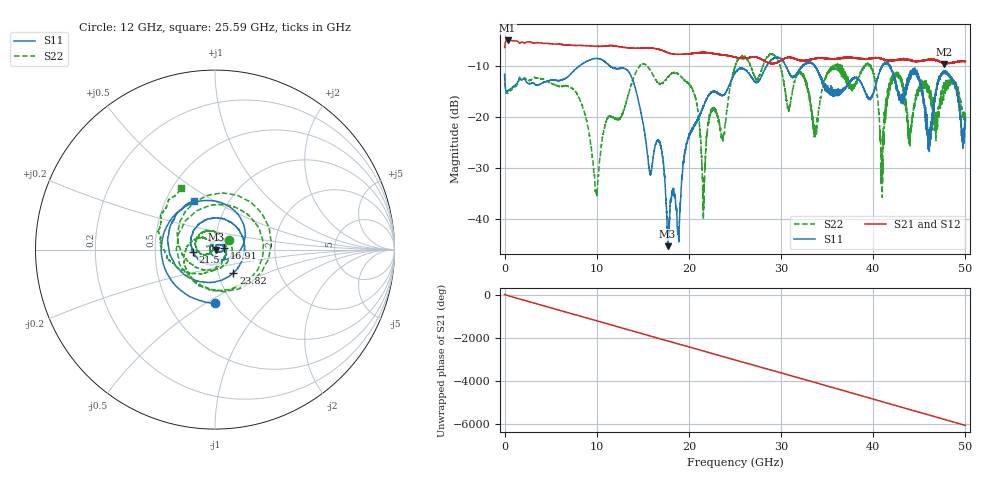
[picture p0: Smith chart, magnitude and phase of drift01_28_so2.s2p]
!Created with skrf (http://scikit-rf.org).
# Hz S RI R 50.0
!freq ReS11 ImS11 ReS21 ImS21 ReS12 ImS12 ReS22 ImS22
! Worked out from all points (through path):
!   10001 points, 300 kHz to 50 GHz, reference 50 ohm
!   highest |S21| = -5.05 dB at 325.3 MHz (marker M1); lowest = -9.7 dB at 47.67 GHz (marker M2)
!   group delay of S21, straight-line fit = 336 ps
!   lowest |S11| = -45.3 dB at 17.69 GHz (marker M3), VSWR 1.01, Z = 50.5 - j0.0917 ohm
!   |S11| at or under -10 dB: start of sweep to 8.151 GHz; 11.43 GHz to 28.43 GHz (17.01 GHz wide, 85.3 % of centre); 41.8 GHz to end of sweep (the widest 3 of 12)
!   |S22| runs from -40.0 to -7.7 dB; largest |S21 - S12| = 0.013
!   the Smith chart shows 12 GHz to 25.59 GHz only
!   S11 on the Smith chart (normalised r, x): 12 GHz: 0.84, -0.55; 16.91 GHz: 1.11, +0.02; 21.5 GHz: 0.78, -0.02; 23.82 GHz: 1.18, -0.31; 25.59 GHz: 0.69, +0.41
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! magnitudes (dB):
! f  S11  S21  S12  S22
! 300 kHz  -11.7  -6.4  -6.5  -11.7
! 325.3 MHz  -14.9  -5.1  -5.1  -15.4
! 8.335 GHz  -9.8  -6.0  -6.0  -17.5
! 9.935 GHz  -8.6  -6.2  -6.2  -34.5
! 12 GHz  -10.5  -6.1  -6.1  -20.5
! 15.78 GHz  -31.0  -6.5  -6.5  -10.8
! 16.67 GHz  -24.5  -6.8  -6.7  -13.4
! 16.91 GHz  -25.5  -6.9  -6.9  -13.5
! 17.69 GHz  -45.3  -7.4  -7.4  -12.3
! 20.5 GHz  -22.0  -7.5  -7.6  -15.1
! 21.5 GHz  -18.1  -7.4  -7.4  -34.5
! 22.45 GHz  -15.2  -7.6  -7.5  -18.9
! 23.82 GHz  -15.6  -7.9  -7.9  -23.7
! 25 GHz  -11.4  -8.3  -8.4  -10.2
! 25.59 GHz  -10.5  -8.6  -8.6  -8.2
! 33.34 GHz  -9.5  -8.7  -8.7  -19.3
! 39.5 GHz  -16.5  -8.6  -8.6  -9.9
! 40.95 GHz  -10.2  -8.7  -8.6  -27.0
! 41.67 GHz  -9.8  -8.9  -9.0  -15.3
! 46.06 GHz  -24.4  -8.8  -8.7  -14.8
! 47.67 GHz  -11.3  -9.7  -9.6  -14.7
! 50 GHz  -20.7  -9.2  -9.1  -19.7
